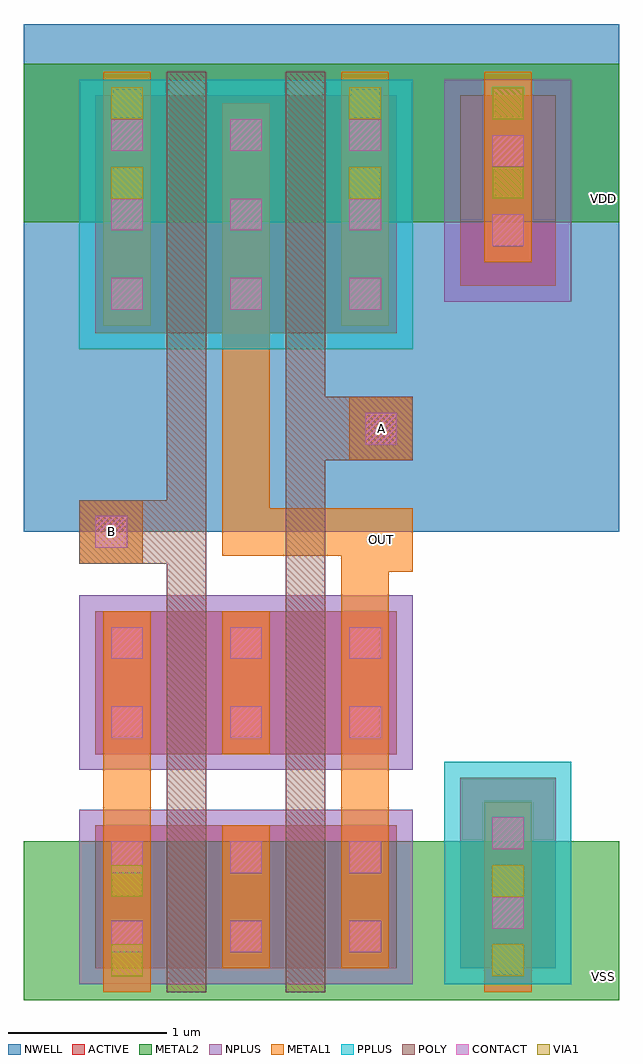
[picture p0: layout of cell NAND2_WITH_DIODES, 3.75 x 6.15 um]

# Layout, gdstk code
import gdstk
lib = gdstk.Library(unit=1e-6, precision=1e-09)
def R(c, l, rs):  # rectangles x0, y0, x1, y1
    for r in rs: c.add(gdstk.rectangle(r[:2], r[2:], *l))
def A(c, l, x, y, w, h, nx, ny, dx, dy):  # array of equal rectangles
    R(c, l, [(x+i*dx, y+j*dy, x+i*dx+w, y+j*dy+h) for i in range(nx) for j in range(ny)])
NWELL = (1, 0)
ACTIVE = (2, 0)
PPLUS = (3, 0)
NPLUS = (4, 0)
POLY = (5, 0)
CONTACT = (6, 0)
METAL1 = (7, 0)
VIA1 = (8, 0)
METAL2 = (9, 0)

nand2_with_diodes = lib.new_cell('NAND2_WITH_DIODES')
R(nand2_with_diodes, NWELL, [(0,2.95,3.75,6.15)])
R(nand2_with_diodes, ACTIVE, [(0.45,0.2,1.6,1.1), (1.2,0.2,2.35,1.1), (2.75,0.2,3.35,1.4), (0.45,1.55,1.6,2.45), (1.2,1.55,2.35,2.45), (0.45,4.2,1.6,5.7), (1.2,4.2,2.35,5.7), (2.75,4.5,3.35,5.7)])
R(nand2_with_diodes, PPLUS, [(2.65,0.1,3.45,1.5), (0.35,4.1,1.7,5.8), (1.1,4.1,2.45,5.8)])
R(nand2_with_diodes, NPLUS, [(0.35,0.1,1.7,1.2), (1.1,0.1,2.45,1.2), (0.35,1.45,1.7,2.55), (1.1,1.45,2.45,2.55), (2.65,4.4,3.45,5.8)])
R(nand2_with_diodes, POLY, [(0.9,0.05,1.15,1.1), (1.65,0.05,1.9,1.1), (0.9,1.1,1.15,4.2), (1.65,1.1,1.9,4.2), (0.9,1.4,1.15,2.45), (1.65,1.4,1.9,2.45), (0.35,2.75,0.9,3.15), (1.9,3.4,2.45,3.8), (0.9,4.2,1.15,5.85), (1.65,4.2,1.9,5.85)])
A(nand2_with_diodes, CONTACT, 0.55, 4.35, 0.2, 0.2, 1, 3, 0, 0.5)
A(nand2_with_diodes, CONTACT, 2.05, 4.35, 0.2, 0.2, 1, 3, 0, 0.5)
R(nand2_with_diodes, CONTACT, [(0.55,0.3,0.75,0.5), (1.3,0.3,1.5,0.5), (1.3,0.3,1.5,0.5), (2.05,0.3,2.25,0.5), (2.95,0.45,3.15,0.65), (0.55,0.8,0.75,1), (1.3,0.8,1.5,1), (1.3,0.8,1.5,1), (2.05,0.8,2.25,1), (2.95,0.95,3.15,1.15), (0.55,1.65,0.75,1.85), (1.3,1.65,1.5,1.85), (1.3,1.65,1.5,1.85), (2.05,1.65,2.25,1.85), (0.55,2.15,0.75,2.35), (1.3,2.15,1.5,2.35), (1.3,2.15,1.5,2.35), (2.05,2.15,2.25,2.35), (0.45,2.85,0.65,3.05), (2.15,3.5,2.35,3.7), (1.3,4.35,1.5,4.55), (1.3,4.35,1.5,4.55), (2.95,4.75,3.15,4.95), (1.3,4.85,1.5,5.05), (1.3,4.85,1.5,5.05), (2.95,5.25,3.15,5.45), (1.3,5.35,1.5,5.55), (1.3,5.35,1.5,5.55)])
R(nand2_with_diodes, METAL1, [(0.5,0.05,0.8,1.1), (2.9,0.05,3.2,1.25), (1.25,0.2,1.55,1.1), (1.25,0.2,1.55,1.05), (2,0.2,2.3,1.05), (2,1,2.3,2.95), (0.5,1.1,0.8,2.45), (1.25,1.55,1.55,2.45), (1.25,1.55,1.55,2.4), (2,1.55,2.3,2.4), (2,2.7,2.45,3.1), (0.35,2.75,0.75,3.15), (1.25,2.8,2.3,3.1), (1.25,2.95,1.55,4.9), (2.05,3.4,2.45,3.8), (0.5,4.25,0.8,5.85), (1.25,4.25,1.55,5.65), (2,4.25,2.3,5.85), (2.9,4.65,3.2,5.85)])
R(nand2_with_diodes, VIA1, [(0.55,0.15,0.75,0.35), (2.95,0.15,3.15,0.35), (0.55,0.65,0.75,0.85), (2.95,0.65,3.15,0.85), (0.55,5.05,0.75,5.25), (2.05,5.05,2.25,5.25), (2.95,5.05,3.15,5.25), (0.55,5.55,0.75,5.75), (2.05,5.55,2.25,5.75), (2.95,5.55,3.15,5.75)])
R(nand2_with_diodes, METAL2, [(0,0,3.75,1), (0,4.9,3.75,5.9)])
nand2_with_diodes.add(gdstk.Label('A', (2.25,3.6), layer=7, texttype=1))
nand2_with_diodes.add(gdstk.Label('B', (0.55,2.95), layer=7, texttype=1))
nand2_with_diodes.add(gdstk.Label('OUT', (2.25,2.9), layer=7, texttype=1))
nand2_with_diodes.add(gdstk.Label('VDD', (3.65,5.05), layer=9, texttype=1))
nand2_with_diodes.add(gdstk.Label('VSS', (3.65,0.15), layer=9, texttype=1))

lib.write_gds('NAND2_WITH_DIODES.gds')
